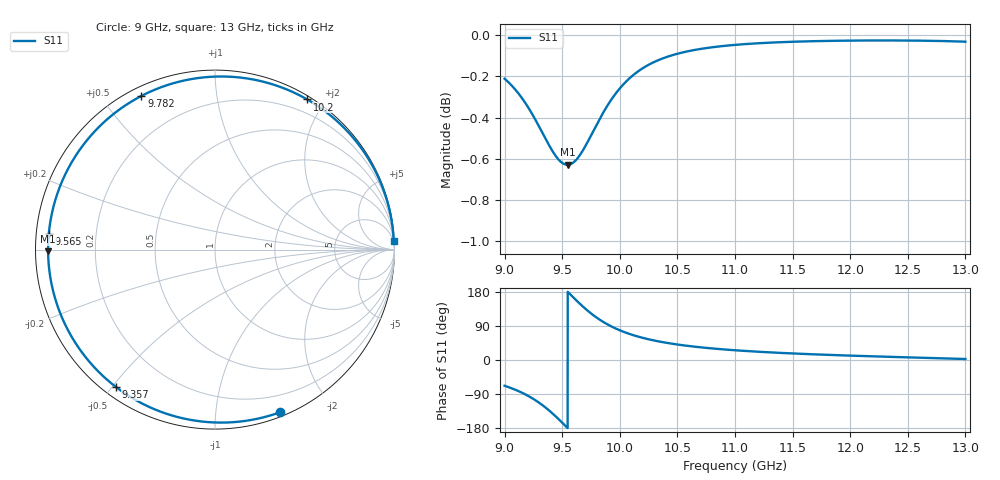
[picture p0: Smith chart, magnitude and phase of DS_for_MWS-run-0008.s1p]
! TOUCHSTONE file generated by CST DESIGN STUDIO
! Date and time: Tue Feb  4 16:21:52 2025
! Project name: C:\Work\MatlabApps\UnitCellOptimizationMatlab\CST\unitcell.cst
! Tree item: Tasks\Sweep1\SPara1\S-Parameters
! Header version: 2024
! Port assignment regex: !\s*Touchstone port\s*([0-9]+)\s*=\s*(CST MWS port|CST DES external port|CST DES block port)\s*(.+)\s* \(\"(.*)\"\)(\s*mode\s*([0-9]+))?.*
! Touchstone port assignment:
! Touchstone port 1 = CST DES external port 1 ("")
# GHz S MA R 50
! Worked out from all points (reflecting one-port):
!   4001 points, 9 GHz to 13 GHz, reference 50 ohm
!   lowest |S11| = -0.6 dB at 9.546 GHz (marker M1), VSWR 27.61, Z = 1.81 - j0.243 ohm
!   phase of S11 starts at -68 deg and turns -289 deg over the sweep
!   S11 on the Smith chart (normalised r, x): 9 GHz: 0.04, -1.48; 9.357 GHz: 0.04, -0.51; 9.565 GHz: 0.04, +0.05; 9.782 GHz: 0.04, +0.63; 10.2 GHz: 0.04, +1.79; 13 GHz: 3, +43
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9  0.976 -68.1
9.103  0.9693 -79.8
9.213  0.9596 -96.1
9.289  0.9514 -110.5
9.357  0.9435 -125.9
9.425  0.9363 -143.6
9.464  0.9331 -154.7
9.5  0.9311 -165.4
9.546  0.9301 -179.4
9.565  0.9303 174.7
9.619  0.9325 158.4
9.68  0.9377 140.9
9.73  0.9431 127.8
9.782  0.9492 115.6
9.828  0.9545 105.9
9.878  0.9599 96.6
9.934  0.9653 87.5
10  0.9707 78.4
10.095  0.9768 67.7
10.199  0.9817 58.4
10.337  0.9862 49.1
10.5  0.9897 40.9
10.721  0.9926 32.8
11  0.9946 25.7
11.5  0.9964 17.3
12  0.997 11.5
12.5  0.9971 7.0
13  0.9964 2.6
